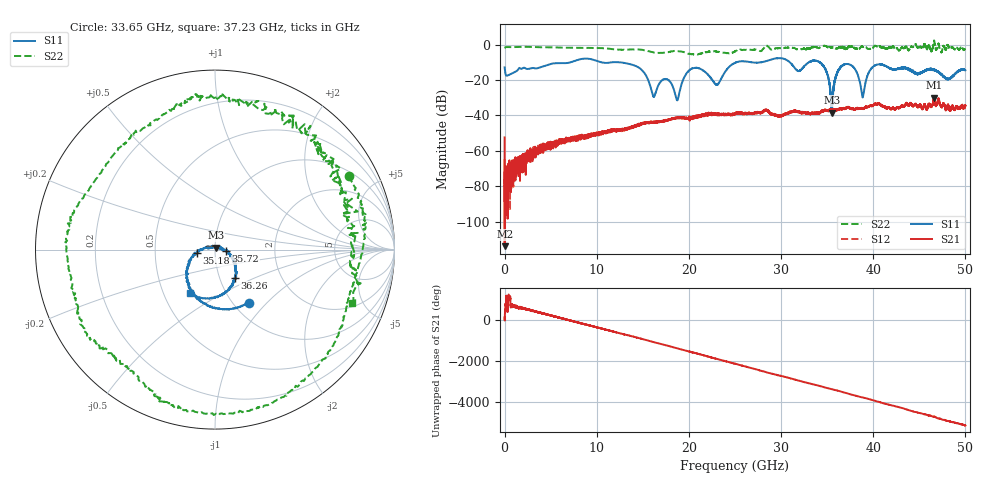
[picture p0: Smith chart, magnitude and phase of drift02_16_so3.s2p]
!Created with skrf (http://scikit-rf.org).
# Hz S RI R 50.0
!freq ReS11 ImS11 ReS21 ImS21 ReS12 ImS12 ReS22 ImS22
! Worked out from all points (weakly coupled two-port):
!   10001 points, 300 kHz to 50 GHz, reference 50 ohm
!   highest |S21| = -29.99 dB at 46.6 GHz (marker M1); lowest = -113.9 dB at 10.3 MHz (marker M2)
!   lowest |S11| = -38.4 dB at 35.51 GHz (marker M3), VSWR 1.02, Z = 50.4 + j1.14 ohm
!   |S11| at or under -10 dB: start of sweep to 7.176 GHz; 12.29 GHz to 25.16 GHz (12.87 GHz wide, 68.7 % of centre); 34.2 GHz to end of sweep (the widest 3 of 17)
!   |S22| runs from -5.7 to 2.3 dB; largest |S21 - S12| = 0.0039
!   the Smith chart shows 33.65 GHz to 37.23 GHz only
!   S11 on the Smith chart (normalised r, x): 33.65 GHz: 1.18, -0.79; 35.18 GHz: 0.82, -0.03; 35.72 GHz: 1.13, -0.02; 36.26 GHz: 1.18, -0.39; 37.23 GHz: 0.68, -0.36
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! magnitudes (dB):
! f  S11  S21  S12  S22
! 300 kHz  -12.9  -52.5  -64.5  -2.1
! 10.3 MHz  -13.5  -113.9  -82.0  -2.1
! 255.3 MHz  -17.6  -73.9  -74.5  -1.4
! 8.335 GHz  -8.2  -53.0  -51.9  -1.9
! 14.01 GHz  -11.7  -46.2  -46.3  -2.8
! 16.67 GHz  -23.2  -43.7  -43.7  -4.7
! 18.74 GHz  -31.5  -41.7  -41.5  -3.7
! 20.24 GHz  -13.9  -41.8  -41.4  -5.4
! 23.04 GHz  -22.7  -39.4  -39.4  -4.1
! 25 GHz  -10.4  -39.2  -39.4  -3.9
! 33.34 GHz  -9.2  -38.6  -38.7  -1.5
! 33.65 GHz  -9.1  -39.1  -38.4  -1.4
! 35.18 GHz  -19.8  -37.1  -37.5  -1.7
! 35.51 GHz  -38.4  -36.8  -36.9  -1.7
! 35.72 GHz  -24.1  -36.7  -36.5  -1.8
! 36.26 GHz  -14.3  -36.6  -36.6  -1.7
! 37.23 GHz  -11.0  -35.9  -35.5  -1.7
! 38.86 GHz  -29.9  -36.2  -36.1  -1.3
! 39.94 GHz  -12.8  -34.5  -34.7  -2.0
! 41.67 GHz  -13.0  -35.6  -35.6  -1.8
! 46.6 GHz  -14.5  -30.0  -29.9  2.0
! 50 GHz  -14.6  -34.4  -34.2  -2.7
